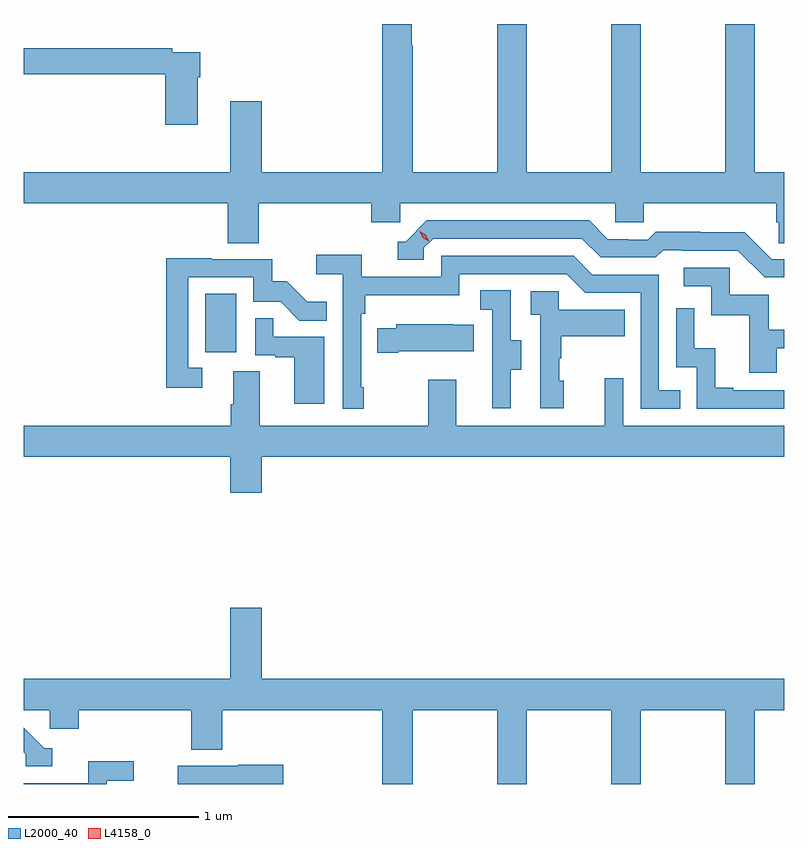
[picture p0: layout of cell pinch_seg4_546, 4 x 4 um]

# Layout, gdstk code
import gdstk
lib = gdstk.Library(unit=1e-6, precision=1e-09)
def R(c, l, rs):  # rectangles x0, y0, x1, y1
    for r in rs: c.add(gdstk.rectangle(r[:2], r[2:], *l))
def P(c, l, *ps):  # polygons
    for p in ps: c.add(gdstk.Polygon(p, *l))
L2000_40 = (2000, 40)
L4158_0 = (4158, 0)

pinch_seg4_546 = lib.new_cell('pinch_seg4_546')
R(pinch_seg4_546, L2000_40, [(1141.898,785.382,1142.062,785.689)])
P(pinch_seg4_546, L2000_40, [(1142.18,786.164),(1142.771,786.164),(1142.771,786.066),(1142.922,786.066),(1142.922,786.164),(1144.053,786.164),(1144.053,786.066),(1144.203,786.066),(1144.203,786.164),(1144.901,786.164),(1144.901,786.066),(1144.915,786.066),(1144.915,785.956),(1144.943,785.956),(1144.943,786.328),(1144.788,786.328),(1144.788,787.108),(1144.633,787.108),(1144.633,786.328),(1144.188,786.328),(1144.188,787.108),(1144.033,787.108),(1144.033,786.328),(1143.588,786.328),(1143.588,787.108),(1143.433,787.108),(1143.433,786.328),(1142.988,786.328),(1142.988,786.995),(1142.983,786.995),(1142.983,787.108),(1142.828,787.108),(1142.828,786.328),(1142.194,786.328),(1142.194,786.703),(1142.03,786.703),(1142.03,786.328),(1140.943,786.328),(1140.943,786.164),(1142.015,786.164),(1142.015,785.956),(1142.18,785.956)],
  [(1141.858,786.827),(1141.871,786.827),(1141.871,786.96),(1141.724,786.96),(1141.724,786.98),(1140.943,786.98),(1140.943,786.844),(1141.688,786.844),(1141.688,786.579),(1141.858,786.579)],
  [(1144.943,785.871),(1144.878,785.871),(1144.736,786.013),(1144.5,786.013),(1144.5,786.016),(1144.267,786.016),(1144.225,785.973),(1144.122,785.973),(1144.122,785.976),(1144.015,785.976),(1143.916,786.075),(1143.063,786.075),(1142.952,785.964),(1142.909,785.964),(1142.909,785.868),(1143.048,785.868),(1143.048,785.931),(1143.096,785.979),(1143.879,785.979),(1143.978,785.88),(1144.267,785.88),(1144.306,785.919),(1144.405,785.919),(1144.405,785.916),(1144.698,785.916),(1144.839,785.775),(1144.943,785.775)],
  [(1142.731,785.197),(1142.718,785.197),(1142.718,785.585),(1142.738,785.585),(1142.738,785.681),(1143.234,785.681),(1143.234,785.793),(1143.798,785.793),(1143.897,785.694),(1144.188,785.694),(1144.188,785.085),(1144.397,785.085),(1144.397,785.181),(1144.284,785.181),(1144.284,785.79),(1143.934,785.79),(1143.835,785.889),(1143.138,785.889),(1143.138,785.778),(1142.72,785.778),(1142.72,785.894),(1142.481,785.894),(1142.481,785.792),(1142.622,785.792),(1142.622,785.085),(1142.731,785.085)],
  [(1141.882,785.301),(1141.809,785.301),(1141.809,785.775),(1142.151,785.775),(1142.151,785.646),(1142.295,785.646),(1142.393,785.548),(1142.537,785.548),(1142.537,785.647),(1142.433,785.647),(1142.326,785.754),(1142.25,785.754),(1142.25,785.871),(1141.931,785.871),(1141.931,785.876),(1141.693,785.876),(1141.693,785.196),(1141.882,785.196)],
  [(1144.903,785.403),(1144.943,785.403),(1144.943,785.499),(1144.861,785.499),(1144.861,785.685),(1144.656,785.685),(1144.656,785.826),(1144.413,785.826),(1144.413,785.73),(1144.56,785.73),(1144.56,785.577),(1144.759,785.577),(1144.759,785.274),(1144.903,785.274)],
  [(1143.505,785.29),(1143.559,785.29),(1143.559,785.445),(1143.504,785.445),(1143.504,785.708),(1143.345,785.708),(1143.345,785.605),(1143.408,785.605),(1143.408,785.301),(1143.407,785.301),(1143.407,785.088),(1143.505,785.088)],
  [(1143.784,785.232),(1143.759,785.232),(1143.759,785.351),(1143.769,785.351),(1143.769,785.465),(1144.103,785.465),(1144.103,785.605),(1143.756,785.605),(1143.756,785.703),(1143.609,785.703),(1143.609,785.579),(1143.66,785.579),(1143.66,785.088),(1143.784,785.088)],
  [(1144.943,785.181),(1144.675,785.181),(1144.675,785.194),(1144.58,785.194),(1144.58,785.402),(1144.47,785.402),(1144.47,785.614),(1144.374,785.614),(1144.374,785.304),(1144.482,785.304),(1144.482,785.085),(1144.943,785.085)],
  [(1142.524,785.463),(1142.255,785.463),(1142.255,785.561),(1142.16,785.561),(1142.16,785.367),(1142.267,785.367),(1142.267,785.355),(1142.366,785.355),(1142.366,785.112),(1142.524,785.112)],
  [(1142.914,785.387),(1143.311,785.387),(1143.311,785.527),(1143.203,785.527),(1143.203,785.53),(1142.901,785.53),(1142.901,785.509),(1142.803,785.509),(1142.803,785.38),(1142.914,785.38)],
  [(1142.194,784.832),(1144.943,784.832),(1144.943,784.996),(1144.095,784.996),(1144.095,785.245),(1143.998,785.245),(1143.998,784.996),(1143.217,784.996),(1143.217,785.236),(1143.07,785.236),(1143.07,784.996),(1142.185,784.996),(1142.185,785.282),(1142.045,785.282),(1142.045,785.108),(1142.033,785.108),(1142.033,784.996),(1140.943,784.996),(1140.943,784.832),(1142.03,784.832),(1142.03,784.644),(1142.194,784.644)],
  [(1142.988,783.5),(1143.433,783.5),(1143.433,783.111),(1143.588,783.111),(1143.588,783.5),(1144.033,783.5),(1144.033,783.111),(1144.188,783.111),(1144.188,783.5),(1144.633,783.5),(1144.633,783.111),(1144.788,783.111),(1144.788,783.5),(1144.943,783.5),(1144.943,783.664),(1142.194,783.664),(1142.194,784.039),(1142.03,784.039),(1142.03,783.664),(1140.943,783.664),(1140.943,783.5),(1141.08,783.5),(1141.08,783.402),(1141.232,783.402),(1141.232,783.5),(1141.823,783.5),(1141.823,783.292),(1141.988,783.292),(1141.988,783.5),(1142.828,783.5),(1142.828,783.111),(1142.988,783.111)],
  [(1141.093,783.3),(1141.05,783.3),(1140.943,783.407),(1140.943,783.278),(1140.954,783.267),(1140.954,783.204),(1141.093,783.204)],
  [(1141.38,783.128),(1141.522,783.128),(1141.522,783.23),(1141.283,783.23),(1141.283,783.114),(1140.943,783.114),(1140.943,783.111),(1141.38,783.111)],
  [(1142.309,783.212),(1142.071,783.212),(1142.071,783.207),(1141.753,783.207),(1141.753,783.111),(1142.309,783.111)])
P(pinch_seg4_546, L4158_0, [(1143.073,785.966),(1143.042,785.985),(1143.026,786.018),(1143.026,786.018),(1143.026,786.018),(1143.057,785.999),(1143.073,785.967),(1143.073,785.966)])

lib.write_gds('pinch_seg4_546.gds')
